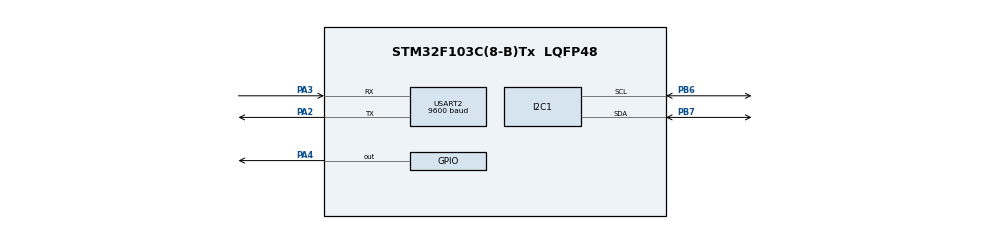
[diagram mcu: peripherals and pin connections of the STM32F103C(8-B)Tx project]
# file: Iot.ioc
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Dma.Request0=USART2_RX
Dma.USART2_RX.0.Direction=DMA_PERIPH_TO_MEMORY
Dma.USART2_RX.0.Instance=DMA1_Channel6
Dma.USART2_RX.0.MemDataAlignment=DMA_MDATAALIGN_BYTE
Dma.USART2_RX.0.MemInc=DMA_MINC_ENABLE
Dma.USART2_RX.0.Mode=DMA_NORMAL
Dma.USART2_RX.0.PeriphDataAlignment=DMA_PDATAALIGN_BYTE
Dma.USART2_RX.0.PeriphInc=DMA_PINC_DISABLE
Dma.USART2_RX.0.Priority=DMA_PRIORITY_LOW
Mcu.Family=STM32F1
Mcu.Name=STM32F103C(8-B)Tx
Mcu.Package=LQFP48
NVIC.DMA1_Channel6_IRQn=true\:0\:0\:false\:false\:true\:false\:true\:true
NVIC.PriorityGroup=NVIC_PRIORITYGROUP_4
NVIC.USART2_IRQn=true\:0\:0\:false\:false\:true\:true\:true\:true
PA13.Mode=Serial_Wire
PA13.Signal=SYS_JTMS-SWDIO
PA14.Mode=Serial_Wire
PA14.Signal=SYS_JTCK-SWCLK
PA2.GPIO_Mode=GPIO_MODE_AF_PP
PA2.Mode=Asynchronous
PA2.Signal=USART2_TX
PA3.GPIO_Mode=GPIO_MODE_INPUT
PA3.Mode=Asynchronous
PA3.Signal=USART2_RX
PA4.Signal=GPIO_Output
PB6.GPIO_Mode=GPIO_MODE_AF_OD
PB6.Mode=I2C
PB6.Signal=I2C1_SCL
PB7.GPIO_Mode=GPIO_MODE_AF_OD
PB7.Mode=I2C
PB7.Signal=I2C1_SDA
ProjectManager.HeapSize=0x200
ProjectManager.StackSize=0x400
ProjectManager.TargetToolchain=MDK-ARM V5.32
RCC.APB1Freq_Value=8000000
RCC.APB2Freq_Value=8000000
USART2.BaudRate=9600
USART2.VirtualMode=VM_ASYNC
board=custom

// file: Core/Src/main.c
/* USER CODE BEGIN Header */
/**
  ******************************************************************************
  * @file           : main.c
  * @brief          : Main program body
  ******************************************************************************
  * @attention
  *
  * Copyright (c) 2024 STMicroelectronics.
  * All rights reserved.
  *
  * This software is licensed under terms that can be found in the LICENSE file
  * in the root directory of this software component.
  * If no LICENSE file comes with this software, it is provided AS-IS.
  *
  ******************************************************************************
  */
/* USER CODE END Header */
#include "main.h"

/* USER CODE BEGIN Includes */
#include "string.h"
#include "stdio.h"
#include "cJSON.h"
#define MPU6050_ADDRESS 0x68 <<1
#define Sample_rate 0x19
#define Config 0x1a
#define Gyro_config 0x1b
#define Accel_config 0x1c
#define Interupt_I2c 0x38
#define PWR_managment 0x6b
#define RxBuffer_Size 50
uint8_t rx_buffer_UART2[RxBuffer_Size];
uint8_t frame[8];
char uart_send[50];
/* USER CODE END Includes */

I2C_HandleTypeDef hi2c1;

UART_HandleTypeDef huart2;
DMA_HandleTypeDef hdma_usart2_rx;

void SystemClock_Config(void);
static void MX_GPIO_Init(void);
static void MX_DMA_Init(void);
static void MX_USART2_UART_Init(void);
static void MX_I2C1_Init(void);

/* USER CODE BEGIN 0 */
#ifdef __GNUC__
#define PUTCHAR_PROTOTYPE int __io_putchar(int ch)
#else
#define PUTCHAR_PROTOTYPE int fputc(int ch, FILE *f)
#endif
PUTCHAR_PROTOTYPE
{
HAL_UART_Transmit(&huart2,(uint8_t *)&ch,1,0xFFFF);
return ch;
}

void MPU6050_write_register(uint8_t reg_address, uint8_t data)
{
HAL_I2C_Mem_Write(&hi2c1, MPU6050_ADDRESS, reg_address,  I2C_MEMADD_SIZE_8BIT, &data, 1, HAL_MAX_DELAY);
}
void InitMpu6050(void)
	{
		MPU6050_write_register(Sample_rate, 0b1111);// sample_rate 500Hz
		MPU6050_write_register(Config,0b0000); // No DLPF
		MPU6050_write_register(Gyro_config,0b1000); //+-500 o/s
		MPU6050_write_register(Accel_config,0b00010000); //+- 8g
		MPU6050_write_register(Interupt_I2c, 0b00001001); // interupt
		MPU6050_write_register(PWR_managment, 0b0001);
	}
int16_t MPU6050_read_register(uint8_t data)
	{
	uint8_t buffer[2];
	int16_t accel_x;
	HAL_I2C_Mem_Read(&hi2c1, MPU6050_ADDRESS, data, I2C_MEMADD_SIZE_8BIT, buffer , 2, HAL_MAX_DELAY);

	accel_x = (int16_t)((buffer[0] << 8 )| buffer[1]);
	return accel_x;
	}
void HAL_UARTEx_RxEventCallback(UART_HandleTypeDef*huart, uint16_t Size)
	{
	uint16_t size;
	HAL_UARTEx_ReceiveToIdle_DMA(&huart2, rx_buffer_UART2, RxBuffer_Size);
	__HAL_DMA_DISABLE_IT(&hdma_usart2_rx, DMA_IT_HT);
	size = Size;
	HAL_UART_Transmit(&huart2, rx_buffer_UART2, size, 1000);
//		if (huart->Instance == USART2)
//			{
//
//			}
	}
	uint16_t calculate_crc(uint8_t *buffer, uint8_t length) {
    uint16_t crc = 0xFFFF;
    for (uint8_t pos = 0; pos < length; pos++) {
        crc ^= buffer[pos];
        for (uint8_t i = 8; i != 0; i--) {
            if ((crc & 0x0001) != 0) {
                crc >>= 1;
                crc ^= 0xA001;
            } else {
                crc >>= 1;
            }
        }
    }
    return crc;
}

/* USER CODE END 0 */

int main(void)
{

  /* MCU Configuration--------------------------------------------------------*/

  /* Reset of all peripherals, Initializes the Flash interface and the Systick. */
  HAL_Init();

  /* Configure the system clock */
  SystemClock_Config();

  /* Initialize all configured peripherals */
  MX_GPIO_Init();
  MX_DMA_Init();
  MX_USART2_UART_Init();
  MX_I2C1_Init();
  /* USER CODE BEGIN 2 */
//	HAL_UARTEx_ReceiveToIdle_DMA(&huart2, rx_buffer_UART2, RxBuffer_Size);
//	__HAL_DMA_DISABLE_IT(&hdma_usart2_rx, DMA_IT_HT);
//	GPIOA->ODR|=0b00010000;
  /* USER CODE END 2 */

  /* Infinite loop */
  while (1)
  {
 if (HAL_UART_Receive(&huart2, (uint8_t*)frame, 8, HAL_MAX_DELAY) == HAL_OK)
        {
					uint8_t address = frame[0];
					uint8_t functionCode = frame[1];
					uint16_t registerAddress = (frame[2] << 8) | frame[3];
					uint8_t value = frame[6];
					uint16_t received_crc = (frame[7] << 8) | frame[6];
					uint16_t calculated_crc = calculate_crc(frame, 6);

//        if (received_crc != calculated_crc) {
//            break; // CRC khТng khop, bo qua frame
//        }
				if (functionCode == 0x10 && registerAddress == 0x0001)
				{
					GPIOA->ODR &= 0xFFFFFF00;
					GPIOA->ODR ^= (value & 0xFF);

				}
			}
  }
}

void SystemClock_Config(void)
{
  RCC_OscInitTypeDef RCC_OscInitStruct = {0};
  RCC_ClkInitTypeDef RCC_ClkInitStruct = {0};

  /** Initializes the RCC Oscillators according to the specified parameters
  * in the RCC_OscInitTypeDef structure.
  */
  RCC_OscInitStruct.OscillatorType = RCC_OSCILLATORTYPE_HSI;
  RCC_OscInitStruct.HSIState = RCC_HSI_ON;
  RCC_OscInitStruct.HSICalibrationValue = RCC_HSICALIBRATION_DEFAULT;
  RCC_OscInitStruct.PLL.PLLState = RCC_PLL_NONE;
  if (HAL_RCC_OscConfig(&RCC_OscInitStruct) != HAL_OK)
  {
    Error_Handler();
  }

  /** Initializes the CPU, AHB and APB buses clocks
  */
  RCC_ClkInitStruct.ClockType = RCC_CLOCKTYPE_HCLK|RCC_CLOCKTYPE_SYSCLK
                              |RCC_CLOCKTYPE_PCLK1|RCC_CLOCKTYPE_PCLK2;
  RCC_ClkInitStruct.SYSCLKSource = RCC_SYSCLKSOURCE_HSI;
  RCC_ClkInitStruct.AHBCLKDivider = RCC_SYSCLK_DIV1;
  RCC_ClkInitStruct.APB1CLKDivider = RCC_HCLK_DIV1;
  RCC_ClkInitStruct.APB2CLKDivider = RCC_HCLK_DIV1;

  if (HAL_RCC_ClockConfig(&RCC_ClkInitStruct, FLASH_LATENCY_0) != HAL_OK)
  {
    Error_Handler();
  }
}

static void MX_I2C1_Init(void)
{

  hi2c1.Instance = I2C1;
  hi2c1.Init.ClockSpeed = 100000;
  hi2c1.Init.DutyCycle = I2C_DUTYCYCLE_2;
  hi2c1.Init.OwnAddress1 = 0;
  hi2c1.Init.AddressingMode = I2C_ADDRESSINGMODE_7BIT;
  hi2c1.Init.DualAddressMode = I2C_DUALADDRESS_DISABLE;
  hi2c1.Init.OwnAddress2 = 0;
  hi2c1.Init.GeneralCallMode = I2C_GENERALCALL_DISABLE;
  hi2c1.Init.NoStretchMode = I2C_NOSTRETCH_DISABLE;
  if (HAL_I2C_Init(&hi2c1) != HAL_OK)
  {
    Error_Handler();
  }

}

static void MX_USART2_UART_Init(void)
{

  huart2.Instance = USART2;
  huart2.Init.BaudRate = 9600;
  huart2.Init.WordLength = UART_WORDLENGTH_8B;
  huart2.Init.StopBits = UART_STOPBITS_1;
  huart2.Init.Parity = UART_PARITY_NONE;
  huart2.Init.Mode = UART_MODE_TX_RX;
  huart2.Init.HwFlowCtl = UART_HWCONTROL_NONE;
  huart2.Init.OverSampling = UART_OVERSAMPLING_16;
  if (HAL_UART_Init(&huart2) != HAL_OK)
  {
    Error_Handler();
  }

}

static void MX_DMA_Init(void)
{

  /* DMA controller clock enable */
  __HAL_RCC_DMA1_CLK_ENABLE();

  /* DMA interrupt init */
  /* DMA1_Channel6_IRQn interrupt configuration */
  HAL_NVIC_SetPriority(DMA1_Channel6_IRQn, 0, 0);
  HAL_NVIC_EnableIRQ(DMA1_Channel6_IRQn);

}

static void MX_GPIO_Init(void)
{
  GPIO_InitTypeDef GPIO_InitStruct = {0};

  /* GPIO Ports Clock Enable */
  __HAL_RCC_GPIOA_CLK_ENABLE();
  __HAL_RCC_GPIOB_CLK_ENABLE();

  /*Configure GPIO pin Output Level */
  HAL_GPIO_WritePin(GPIOA, GPIO_PIN_4, GPIO_PIN_RESET);

  /*Configure GPIO pin : PA4 */
  GPIO_InitStruct.Pin = GPIO_PIN_4;
  GPIO_InitStruct.Mode = GPIO_MODE_OUTPUT_PP;
  GPIO_InitStruct.Pull = GPIO_NOPULL;
  GPIO_InitStruct.Speed = GPIO_SPEED_FREQ_LOW;
  HAL_GPIO_Init(GPIOA, &GPIO_InitStruct);

}

void Error_Handler(void)
{
  __disable_irq();
  while (1)
  {
  }
}
